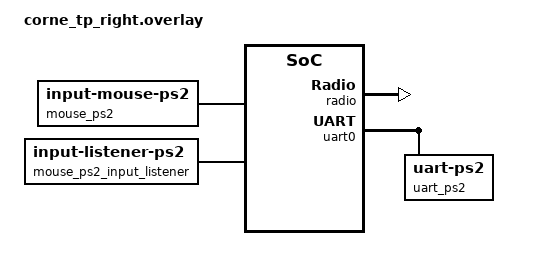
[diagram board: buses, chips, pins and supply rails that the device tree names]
/*
 * Copyright (c) 2024
 * SPDX-License-Identifier: MIT
 *
 * Corne Trackpoint - Right side (Central with Trackpoint)
 *
 * Pin Configuration (nice!nano GPIO numbers):
 *   Clock (SCL): P0.20 (&pro_micro 3)
 *   Data (SDA):  P0.17 (&pro_micro 2)
 */

#include "corne_tp.dtsi"

&default_transform {
    col-offset = <6>;
};

&kscan0 {
    col-gpios
        = <&pro_micro 14 GPIO_ACTIVE_HIGH>
        , <&pro_micro 15 GPIO_ACTIVE_HIGH>
        , <&pro_micro 18 GPIO_ACTIVE_HIGH>
        , <&pro_micro 19 GPIO_ACTIVE_HIGH>
        , <&pro_micro 20 GPIO_ACTIVE_HIGH>
        , <&pro_micro 21 GPIO_ACTIVE_HIGH>
        ;
};


/*
 * PS/2 Trackpoint Configuration
 * Using UART driver (recommended for nice!nano - much better performance)
 */

// Enable UART driver (comment out to use GPIO driver instead)
#define MOUSE_PS2_DRIVER_UART

// Pin Configuration for HolyKeebs trackpoint module
// Clock (SCL): P0.20 = pro_micro 3
// Data (SDA):  P0.17 = pro_micro 2
// Using GPIO_PULL_UP to enable internal pullup resistors (PS/2 requires pullups)
#define MOUSE_PS2_PIN_SCL_PRO_MICRO <&pro_micro 3 (GPIO_ACTIVE_HIGH | GPIO_PULL_UP)>
#define MOUSE_PS2_PIN_SDA_PRO_MICRO <&pro_micro 2 (GPIO_ACTIVE_HIGH | GPIO_PULL_UP)>

// PINCTRL notation for SDA pin (P0.17)
// Format: NRF_PSEL(UART_RX, port, pin) where P0.17 = port 0, pin 17
#define MOUSE_PS2_PIN_SDA_PINCTRL <NRF_PSEL(UART_RX, 0, 17)>

// UART baud rate (14400 works for most trackpoints)
#define MOUSE_PS2_UART_BAUD_RATE <14400>

// Unexposed pins for UART TX (nice!nano internal pins not on breakout)
#define MOUSE_PS2_PIN_UNEXPOSED_TX <NRF_PSEL(UART_TX, 0, 27)>
#define MOUSE_PS2_PIN_UNEXPOSED_RX <NRF_PSEL(UART_RX, 0, 28)>

// Marker that trackpoint config is present
#define MOUSE_PS2_DT_PRESENT


/*
 * Interrupt Priority Configuration
 * Required for reliable PS/2 communication
 */

// GPIOTE needs highest priority for PS/2 timing
&gpiote {
    interrupts = < 6 0 >;
};

// Demote other interrupts to priority 3
&clock { interrupts = < 0 3 >; };
&power { interrupts = < 0 3 >; };
&radio { interrupts = < 1 3 >; };
&uart0 { interrupts = < 2 3 >; };
&i2c0 { interrupts = < 3 3 >; };
&spi0 { interrupts = < 3 3 >; };
&i2c1 { interrupts = < 4 3 >; };
&spi1 { interrupts = < 4 3 >; };
&nfct { interrupts = < 5 3 >; };
&adc { interrupts = < 7 3 >; };
&timer0 { interrupts = < 8 3 >; };
&timer1 { interrupts = < 9 3 >; };
&timer2 { interrupts = < 10 3 >; };
&rtc0 { interrupts = < 11 3 >; };
&temp { interrupts = < 12 3 >; };
&rng { interrupts = < 13 3 >; };
&ecb { interrupts = < 14 3 >; };
&ccm { interrupts = < 15 3 >; };
&wdt { interrupts = < 16 3 >; };
&rtc1 { interrupts = < 17 3 >; };
&qdec { interrupts = < 18 3 >; };
&comp { interrupts = < 19 3 >; };
&egu0 { interrupts = < 20 3 >; };
&egu1 { interrupts = < 21 3 >; };
&egu2 { interrupts = < 22 3 >; };
&egu3 { interrupts = < 23 3 >; };
&egu4 { interrupts = < 24 3 >; };
&egu5 { interrupts = < 25 3 >; };
&timer3 { interrupts = < 26 3 >; };
&timer4 { interrupts = < 27 3 >; };
&pwm0 { interrupts = < 28 3 >; };
&pdm0 { interrupts = < 29 3 >; };
&pwm1 { interrupts = < 33 3 >; };
&pwm2 { interrupts = < 34 3 >; };
&spi2 { interrupts = < 35 3 >; };
&rtc2 { interrupts = < 36 3 >; };
&i2s0 { interrupts = < 37 3 >; };
&usbd { interrupts = < 39 3 >; };
&uart1 { interrupts = < 40 3 >; };
&qspi { interrupts = < 41 3 >; };
&pwm3 { interrupts = < 45 3 >; };
&spi3 { interrupts = < 47 3 >; };
&cryptocell { interrupts = < 42 3 >; };


/*
 * PINCTRL Configuration for UART PS/2 driver
 */

&pinctrl {
    // UART receive state - uses SDA pin for PS/2 data
    uart0_ps2_default: uart0_ps2_default {
        group1 {
            psels = MOUSE_PS2_PIN_UNEXPOSED_TX,
                    MOUSE_PS2_PIN_SDA_PINCTRL;
        };
    };

    // Sleep state
    uart0_ps2_sleep: uart0_ps2_sleep {
        group1 {
            psels = MOUSE_PS2_PIN_UNEXPOSED_TX,
                    MOUSE_PS2_PIN_SDA_PINCTRL;
            low-power-enable;
        };
    };

    // Off state - used when switching to GPIO mode for transmissions
    uart0_ps2_off: uart0_ps2_off {
        group1 {
            psels = MOUSE_PS2_PIN_UNEXPOSED_TX,
                    MOUSE_PS2_PIN_UNEXPOSED_RX;
        };
    };
};


/*
 * PS/2 Device Configuration
 */

#ifdef MOUSE_PS2_DRIVER_UART

    // UART-based PS/2 driver (recommended for nice!nano)
    &uart0 {
        status = "okay";
        compatible = "nordic,nrf-uarte";

        current-speed = MOUSE_PS2_UART_BAUD_RATE;
        pinctrl-0 = <&uart0_ps2_default>;
        pinctrl-1 = <&uart0_ps2_off>;

        pinctrl-names = "default", "sleep";

        uart_ps2: uart_ps2 {
            status = "okay";
            compatible = "uart-ps2";
            scl-gpios = MOUSE_PS2_PIN_SCL_PRO_MICRO;
            sda-gpios = MOUSE_PS2_PIN_SDA_PRO_MICRO;
        };
    };

#else

    // GPIO-based PS/2 driver (fallback, slower)
    / {
        gpio_ps2: gpio_ps2 {
            status = "okay";
            compatible = "gpio-ps2";
            scl-gpios = MOUSE_PS2_PIN_SCL_PRO_MICRO;
            sda-gpios = MOUSE_PS2_PIN_SDA_PRO_MICRO;
        };
    };

#endif


/ {
    mouse_ps2: mouse_ps2 {
        status = "okay";
        compatible = "zmk,input-mouse-ps2";

#ifdef MOUSE_PS2_DRIVER_UART
        ps2-device = <&uart_ps2>;
#else
        ps2-device = <&gpio_ps2>;
#endif

        /* Match QMK HolyKeebs settings */
        tp-x-invert;        /* PS2_MOUSE_INVERT_X */
        tp-y-invert;        /* PS2_MOUSE_INVERT_Y */
    };

    mouse_ps2_input_listener: mouse_ps2_input_listener {
        compatible = "zmk,input-listener-ps2";
        status = "okay";
        device = <&mouse_ps2>;
    };
};
